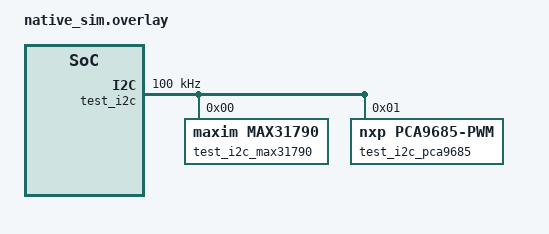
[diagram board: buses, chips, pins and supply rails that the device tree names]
/*
 * Copyright (c) 2024 TOKITA Hiroshi
 * SPDX-License-Identifier: Apache-2.0
 */

/ {
	test {
		#address-cells = <1>;
		#size-cells = <1>;

		test_i2c: i2c@11112222 {
			compatible = "vnd,i2c";
			reg = <0x11112222 0x1000>;
			#address-cells = <1>;
			#size-cells = <0>;
			clock-frequency = <100000>;
			status = "okay";

			test_i2c_max31790: max31790@0 {
				compatible = "maxim,max31790";
				reg = <0x0>;
				status = "okay";

				max31790_max31790_pwm: max31790_max31790_pwm {
					compatible = "maxim,max31790-pwm";
					pwm-controller;
					#pwm-cells = <2>;
					status = "okay";
				};
			};

			test_i2c_pca9685: pca9685@1 {
				compatible = "nxp,pca9685-pwm";
				reg = <0x1>;
				#pwm-cells = <3>;
				status = "okay";
			};
		};
	};
};
